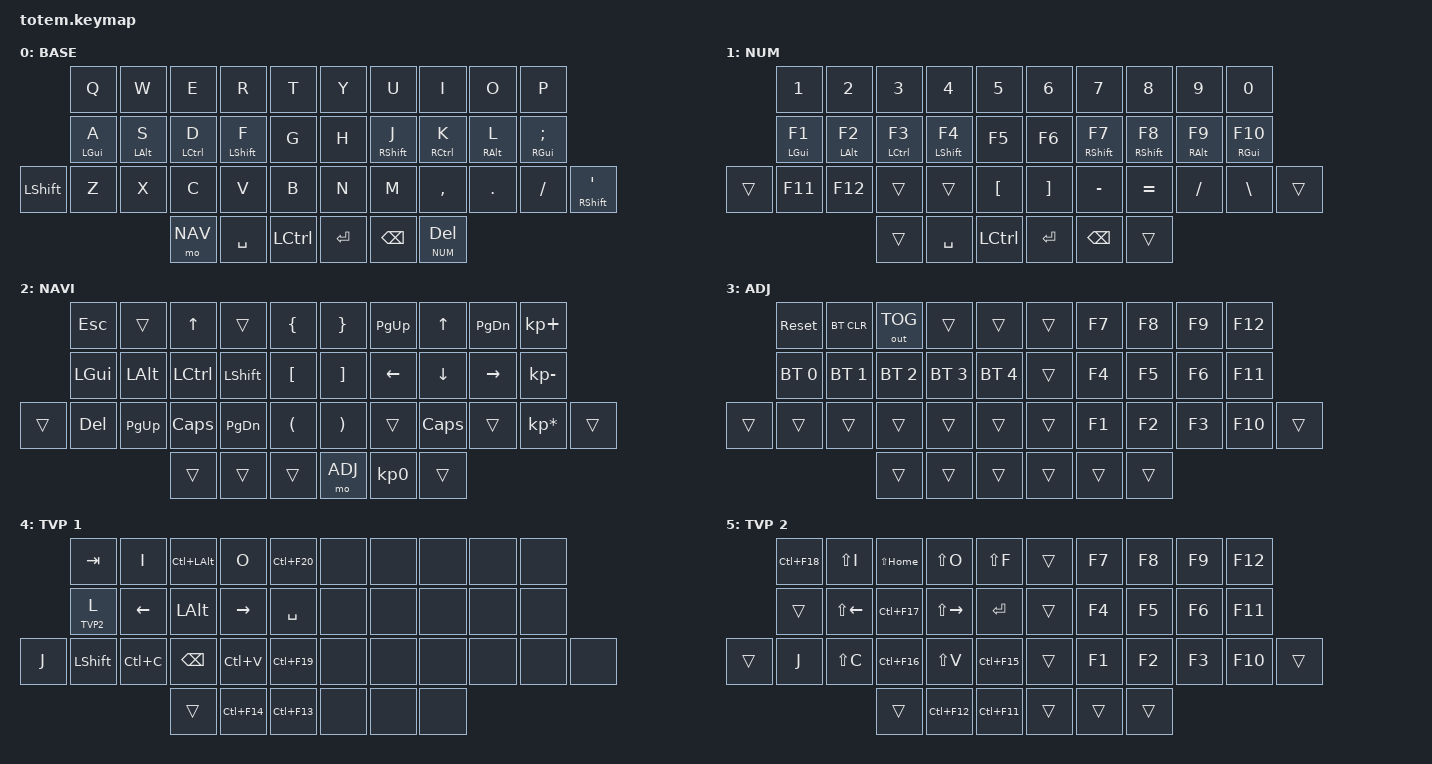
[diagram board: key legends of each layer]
//
//                                                        ▀▀▀▀▀     ▀▀▀▀▀          ▀▀█▀▀
//                                                        ▄▀▀▀▄  ▄  ▄▀▀▀▄  ▄  ▄▀▀▀▄  █  ▄▀▀▀▄
//                                                        █   █  █  █   █  █  █   █  █  █   █
//                                                         ▀▀▀   █   ▀▀▀   █   ▀▀▀   ▀   ▀▀▀
//                                                               █      ▄▄▄█▄▄▄    █   █  
//                                                               ▀      █  █  █     █▄█
//                                                             ▀▀▀▀▀    █  █  █      ▀
//                                                                      ▀  ▀  ▀
//
// ▄▄▄▄▄▄▄▄▄▄▄▄▄▄▄▄▄▄▄▄▄▄▄▄▄▄▄▄▄▄▄▄▄▄▄▄▄▄▄▄▄▄▄▄▄▄▄▄▄▄▄▄▄▄▄▄▄▄▄▄▄▄▄▄▄▄▄▄▄▄▄▄▄▄▄▄▄▄▄▄▄▄▄▄▄▄▄▄▄▄▄▄▄▄▄▄▄▄▄▄▄▄▄▄▄▄▄▄▄▄▄▄▄▄▄▄▄▄▄▄▄▄▄▄▄▄▄▄▄▄▄▄▄▄▄▄▄▄▄▄▄▄▄▄▄▄▄▄▄


#include <behaviors.dtsi>
#include <dt-bindings/zmk/keys.h>
#include <dt-bindings/zmk/bt.h>
#include <dt-bindings/zmk/outputs.h>

#define BASE 0
#define NUM  1
#define NAV  2
#define ADJ  3
#define TVP1 4
#define TVP2 5

&mt {
  quick-tap-ms = <100>;
  require-prior-idle-ms = <100>;
  flavor = "tap-preferred";
  tapping-term-ms = <170>;
};

/ {
     combos {
            compatible = "zmk,combos";
            combo_esc {
                timeout-ms = <50>;
                key-positions = <0 1>;
                bindings = <&kp ESC>;
            };
            combo_tvp {
                timeout-ms = <100>;
                key-positions = <11 12 13>;
                bindings = <&tog TVP1>;
            };
            combo_tab {
                key-positions = <10 11>;
                bindings = <&kp TAB>;
            };
            combo_adj {
                key-positions = <32 37>;
                bindings = <&mo ADJ>;
            };
    };

    macros {
        gif: gif {
            label = "giphy";
            compatible = "zmk,behavior-macro";
            #binding-cells = <0>;
            bindings
                = <&macro_press &kp LSHFT>
                , <&macro_tap &kp N2>
                , <&macro_release &kp LSHFT>
                , <&macro_tap &kp G &kp I &kp F>
                ;
        };
    };

        keymap {
                compatible = "zmk,keymap";
// ▄▄▄▄▄▄▄▄▄▄▄▄▄▄▄▄▄▄▄▄▄▄▄▄▄▄▄▄▄▄▄▄▄▄▄▄▄▄▄▄▄▄▄▄▄▄▄▄▄▄▄▄▄▄▄▄▄▄▄▄▄▄▄▄▄▄▄▄▄▄▄▄▄▄▄▄▄▄▄▄▄▄▄▄▄▄▄▄▄▄▄▄▄▄▄▄▄▄▄▄▄▄▄▄▄▄▄▄▄▄▄▄▄▄▄▄▄▄▄▄▄▄▄▄▄▄▄▄▄▄▄▄▄▄▄▄▄▄▄▄▄▄▄▄▄▄▄▄▄

                base_layer {
// ┏━━━━━━━━━━━━━━━━━━━━━━━━━━━━━━━━━━━━━━━┓
label= "BASE"                              ;
// ┗━━━━━━━━━━━━━━━━━━━━━━━━━━━━━━━━━━━━━━━┛
//             ┏━━━━━━━━━━━┳━━━━━━━━━━━┳━━━━━━━━━━━┳━━━━━━━━━━━┳━━━━━━━━━━━┓   ┏━━━━━━━━━━━┳━━━━━━━━━━━┳━━━━━━━━━━━┳━━━━━━━━━━━┳━━━━━━━━━━━┓
//             ┃     Q     ┃     W     ┃     E     ┃     R     ┃     T     ┃   ┃     Y     ┃     U     ┃     I     ┃     O     ┃     P     ┃
//             ┣━━━━━━━━━━━╋━━━━━━━━━━━╋━━━━━━━━━━━╋━━━━━━━━━━━╋━━━━━━━━━━━┫   ┣━━━━━━━━━━━╋━━━━━━━━━━━╋━━━━━━━━━━━╋━━━━━━━━━━━╋━━━━━━━━━━━┫
//             ┃     A     ┃     S     ┃     D     ┃     F     ┃     G     ┃   ┃     H     ┃     J     ┃     K     ┃     L     ┃     ;     ┃
// ┏━━━━━━━━━━━╋━━━━━━━━━━━╋━━━━━━━━━━━╋━━━━━━━━━━━╋━━━━━━━━━━━╋━━━━━━━━━━━┫   ┣━━━━━━━━━━━╋━━━━━━━━━━━╋━━━━━━━━━━━╋━━━━━━━━━━━╋━━━━━━━━━━━╋━━━━━━━━━━━┓
// ┃   SHIFT   ┃     Z     ┃     X     ┃     C     ┃     V     ┃     B     ┃   ┃     K     ┃     M     ┃     ,     ┃     .     ┃     /     ┃   SHIFT   ┃
// ┗━━━━━━━━━━━┻━━━━━━━━━━━┻━━━━━━━━━━━╋━━━━━━━━━━━╋━━━━━━━━━━━╋━━━━━━━━━━━┫   ┣━━━━━━━━━━━╋━━━━━━━━━━━╋━━━━━━━━━━━╋━━━━━━━━━━━┻━━━━━━━━━━━┻━━━━━━━━━━━┛
//                                     ┃           ┃    SPC    ┃   CTRL    ┃   ┃   ENTER   ┃   BSPC    ┃   DEL     ┃
//                                     ┗━━━━━━━━━━━┻━━━━━━━━━━━┻━━━━━━━━━━━┛   ┗━━━━━━━━━━━┻━━━━━━━━━━━┻━━━━━━━━━━━┛
 bindings = <
// ╷           ╷           ╷           ╷           ╷           ╷           ╷   ╷           ╷           ╷           ╷           ╷           ╷           ╷

                &kp Q       &kp W       &kp E       &kp R       &kp T           &kp Y       &kp U       &kp I       &kp O       &kp P
                &mt LGUI  A &mt LALT S  &mt LCTRL D &mt LSHFT F &kp G           &kp H       &mt RSHFT J &mt RCTRL K &mt RALT L  &mt RGUI SEMI
    &kp LSHFT   &kp Z       &kp X       &kp C       &kp V       &kp B           &kp N       &kp M       &kp COMMA   &kp DOT     &kp FSLH    &mt RSHFT APOS
                                        &mo NAV     &kp SPACE   &kp LCTRL       &kp RET     &kp BSPC    &lt NUM DEL
                        >;
                };

// ▄▄▄▄▄▄▄▄▄▄▄▄▄▄▄▄▄▄▄▄▄▄▄▄▄▄▄▄▄▄▄▄▄▄▄▄▄▄▄▄▄▄▄▄▄▄▄▄▄▄▄▄▄▄▄▄▄▄▄▄▄▄▄▄▄▄▄▄▄▄▄▄▄▄▄▄▄▄▄▄▄▄▄▄▄▄▄▄▄▄▄▄▄▄▄▄▄▄▄▄▄▄▄▄▄▄▄▄▄▄▄▄▄▄▄▄▄▄▄▄▄▄▄▄▄▄▄▄▄▄▄▄▄▄▄▄▄▄▄▄▄▄▄▄▄▄▄▄▄

                num_layer {
// ┏━━━━━━━━━━━━━━━━━━━━━━━━━━━━━━━━━━━━━━━┓
label= "NUM"                               ;
// ┗━━━━━━━━━━━━━━━━━━━━━━━━━━━━━━━━━━━━━━━┛
//             ┏━━━━━━━━━━━┳━━━━━━━━━━━┳━━━━━━━━━━━┳━━━━━━━━━━━┳━━━━━━━━━━━┓   ┏━━━━━━━━━━━┳━━━━━━━━━━━┳━━━━━━━━━━━┳━━━━━━━━━━━┳━━━━━━━━━━━┓
//             ┃     1     ┃     2     ┃     3     ┃     4     ┃     5     ┃   ┃     6     ┃     7     ┃     8     ┃     9     ┃     0     ┃
//             ┣━━━━━━━━━━━╋━━━━━━━━━━━╋━━━━━━━━━━━╋━━━━━━━━━━━╋━━━━━━━━━━━┫   ┣━━━━━━━━━━━╋━━━━━━━━━━━╋━━━━━━━━━━━╋━━━━━━━━━━━╋━━━━━━━━━━━┫
//             ┃     F1    ┃     F2    ┃     F3    ┃     F4    ┃     F5    ┃   ┃     F6    ┃     F7    ┃     F8    ┃     F9    ┃    F10    ┃
// ┏━━━━━━━━━━━╋━━━━━━━━━━━╋━━━━━━━━━━━╋━━━━━━━━━━━╋━━━━━━━━━━━╋━━━━━━━━━━━┫   ┣━━━━━━━━━━━╋━━━━━━━━━━━╋━━━━━━━━━━━╋━━━━━━━━━━━╋━━━━━━━━━━━╋━━━━━━━━━━━┓
// ┃  SHIFT    ┃    F11    ┃    F12    ┃           ┃           ┃     [     ┃   ┃     ]     ┃     -     ┃     =     ┃     /     ┃     \     ┃   SHIFT   ┃
// ┗━━━━━━━━━━━┻━━━━━━━━━━━┻━━━━━━━━━━━╋━━━━━━━━━━━╋━━━━━━━━━━━╋━━━━━━━━━━━┫   ┣━━━━━━━━━━━╋━━━━━━━━━━━╋━━━━━━━━━━━╋━━━━━━━━━━━┻━━━━━━━━━━━┻━━━━━━━━━━━┛
//                                     ┃           ┃    SPC    ┃    CTRL   ┃   ┃   ENTER   ┃   BSPC    ┃           ┃
//                                     ┗━━━━━━━━━━━┻━━━━━━━━━━━┻━━━━━━━━━━━┛   ┗━━━━━━━━━━━┻━━━━━━━━━━━┻━━━━━━━━━━━┛
 bindings = <
// ╷           ╷           ╷           ╷           ╷           ╷           ╷   ╷           ╷           ╷           ╷           ╷           ╷           ╷

                &kp N1      &kp N2      &kp N3      &kp N4      &kp N5          &kp N6      &kp N7       &kp N8        &kp N9      &kp N0
                &mt LGUI F1 &mt LALT F2 &mt LCTRL F3 &mt LSHFT F4 &kp F5        &kp F6      &mt RSHFT F7 &mt RSHFT F8  &mt RALT F9 &mt RGUI F10
    &trans      &kp F11     &kp F12     &trans      &trans      &kp LBKT        &kp RBKT    &kp MINUS    &kp EQUAL     &kp FSLH    &kp BSLH   &trans
                                        &trans      &kp SPACE   &kp LCTRL       &kp RET     &kp BSPC     &trans
                        >;
                };

// ▄▄▄▄▄▄▄▄▄▄▄▄▄▄▄▄▄▄▄▄▄▄▄▄▄▄▄▄▄▄▄▄▄▄▄▄▄▄▄▄▄▄▄▄▄▄▄▄▄▄▄▄▄▄▄▄▄▄▄▄▄▄▄▄▄▄▄▄▄▄▄▄▄▄▄▄▄▄▄▄▄▄▄▄▄▄▄▄▄▄▄▄▄▄▄▄▄▄▄▄▄▄▄▄▄▄▄▄▄▄▄▄▄▄▄▄▄▄▄▄▄▄▄▄▄▄▄▄▄▄▄▄▄▄▄▄▄▄▄▄▄▄▄▄▄▄▄▄▄

                nav_layer {
// ┏━━━━━━━━━━━━━━━━━━━━━━━━━━━━━━━━━━━━━━━┓
label= "NAVI"                              ;
// ┗━━━━━━━━━━━━━━━━━━━━━━━━━━━━━━━━━━━━━━━┛
//             ┏━━━━━━━━━━━┳━━━━━━━━━━━┳━━━━━━━━━━━┳━━━━━━━━━━━┳━━━━━━━━━━━┓   ┏━━━━━━━━━━━┳━━━━━━━━━━━┳━━━━━━━━━━━┳━━━━━━━━━━━┳━━━━━━━━━━━┓
//             ┃    ESC    ┃           ┃     UP    ┃           ┃     {     ┃   ┃     }     ┃    P UP   ┃     UP    ┃  P DOWN   ┃     +     ┃
//             ┣━━━━━━━━━━━╋━━━━━━━━━━━╋━━━━━━━━━━━╋━━━━━━━━━━━╋━━━━━━━━━━━┫   ┣━━━━━━━━━━━╋━━━━━━━━━━━╋━━━━━━━━━━━╋━━━━━━━━━━━╋━━━━━━━━━━━┫
//             ┃    GUI    ┃   LALT    ┃   LCTRL   ┃   LSHIFT  ┃     [     ┃   ┃     ]     ┃    LEFT   ┃    DOWN   ┃   RIGHT   ┃     -     ┃
// ┏━━━━━━━━━━━╋━━━━━━━━━━━╋━━━━━━━━━━━╋━━━━━━━━━━━╋━━━━━━━━━━━╋━━━━━━━━━━━┫   ┣━━━━━━━━━━━╋━━━━━━━━━━━╋━━━━━━━━━━━╋━━━━━━━━━━━╋━━━━━━━━━━━╋━━━━━━━━━━━┓
// ┃           ┃           ┃   P UP    ┃  C LOCK   ┃  P DOWN   ┃     (     ┃   ┃     )     ┃           ┃   C LOCK  ┃           ┃     *     ┃           ┃
// ┗━━━━━━━━━━━┻━━━━━━━━━━━┻━━━━━━━━━━━╋━━━━━━━━━━━╋━━━━━━━━━━━╋━━━━━━━━━━━┫   ┣━━━━━━━━━━━╋━━━━━━━━━━━╋━━━━━━━━━━━╋━━━━━━━━━━━┻━━━━━━━━━━━┻━━━━━━━━━━━┛
//                                     ┃           ┃    TAB    ┃    CTRL   ┃   ┃    DEL    ┃     0     ┃           ┃
//                                     ┗━━━━━━━━━━━┻━━━━━━━━━━━┻━━━━━━━━━━━┛   ┗━━━━━━━━━━━┻━━━━━━━━━━━┻━━━━━━━━━━━┛
 bindings = <
// ╷           ╷           ╷           ╷           ╷           ╷           ╷   ╷           ╷           ╷           ╷           ╷           ╷           ╷

                &kp ESC     &trans      &kp UP      &trans      &kp LBRC        &kp RBRC    &kp PG_UP   &kp UP      &kp PG_DN   &kp KP_PLUS
                &kp LGUI    &kp LALT    &kp LCTRL   &kp LSHIFT  &kp LBKT        &kp RBKT    &kp LEFT    &kp DOWN    &kp RIGHT   &kp KP_MINUS
    &trans      &kp DEL     &kp PG_UP   &kp CAPS    &kp PG_DN   &kp LPAR        &kp RPAR    &trans      &kp CAPS    &trans      &kp KP_MULTIPLY &trans
                                        &trans      &trans      &trans          &mo ADJ     &kp KP_N0   &trans
                        >;
                };

// ▄▄▄▄▄▄▄▄▄▄▄▄▄▄▄▄▄▄▄▄▄▄▄▄▄▄▄▄▄▄▄▄▄▄▄▄▄▄▄▄▄▄▄▄▄▄▄▄▄▄▄▄▄▄▄▄▄▄▄▄▄▄▄▄▄▄▄▄▄▄▄▄▄▄▄▄▄▄▄▄▄▄▄▄▄▄▄▄▄▄▄▄▄▄▄▄▄▄▄▄▄▄▄▄▄▄▄▄▄▄▄▄▄▄▄▄▄▄▄▄▄▄▄▄▄▄▄▄▄▄▄▄▄▄▄▄▄▄▄▄▄▄▄▄▄▄▄▄▄

                adjust_layer {
// ┏━━━━━━━━━━━━━━━━━━━━━━━━━━━━━━━━━━━━━━━┓
label= "ADJ"                               ;
// ┗━━━━━━━━━━━━━━━━━━━━━━━━━━━━━━━━━━━━━━━┛
//             ┏━━━━━━━━━━━┳━━━━━━━━━━━┳━━━━━━━━━━━┳━━━━━━━━━━━┳━━━━━━━━━━━┓   ┏━━━━━━━━━━━┳━━━━━━━━━━━┳━━━━━━━━━━━┳━━━━━━━━━━━┳━━━━━━━━━━━┓
//             ┃   RESET   ┃ BT CLEAR  ┃  OUT TOG  ┃           ┃           ┃   ┃           ┃    F7     ┃    F8     ┃    F9     ┃    F12    ┃
//             ┣━━━━━━━━━━━╋━━━━━━━━━━━╋━━━━━━━━━━━╋━━━━━━━━━━━╋━━━━━━━━━━━┫   ┣━━━━━━━━━━━╋━━━━━━━━━━━╋━━━━━━━━━━━╋━━━━━━━━━━━╋━━━━━━━━━━━┫
//             ┃ BT SEL 0  ┃ BT SEL 1  ┃ BT SEL 2  ┃ BT SEL 3  ┃  BT SEL 4 ┃   ┃           ┃    F4     ┃    F5     ┃    F6     ┃    F11    ┃
// ┏━━━━━━━━━━━╋━━━━━━━━━━━╋━━━━━━━━━━━╋━━━━━━━━━━━╋━━━━━━━━━━━╋━━━━━━━━━━━┫   ┣━━━━━━━━━━━╋━━━━━━━━━━━╋━━━━━━━━━━━╋━━━━━━━━━━━╋━━━━━━━━━━━╋━━━━━━━━━━━┓
// ┃           ┃           ┃           ┃           ┃           ┃           ┃   ┃           ┃    F1     ┃    F2     ┃    F3     ┃    F10    ┃           ┃
// ┗━━━━━━━━━━━┻━━━━━━━━━━━┻━━━━━━━━━━━╋━━━━━━━━━━━╋━━━━━━━━━━━╋━━━━━━━━━━━┫   ┣━━━━━━━━━━━╋━━━━━━━━━━━╋━━━━━━━━━━━╋━━━━━━━━━━━┻━━━━━━━━━━━┻━━━━━━━━━━━┛
//                                     ┃           ┃           ┃           ┃   ┃           ┃           ┃           ┃
//                                     ┗━━━━━━━━━━━┻━━━━━━━━━━━┻━━━━━━━━━━━┛   ┗━━━━━━━━━━━┻━━━━━━━━━━━┻━━━━━━━━━━━┛
 bindings = <
// ╷           ╷             ╷             ╷             ╷             ╷             ╷   ╷             ╷             ╷             ╷             ╷             ╷             ╷

                &sys_reset    &bt BT_CLR     &out OUT_TOG   &trans       &trans            &trans      &kp F7      &kp F8      &kp F9      &kp F12
                &bt BT_SEL 0  &bt BT_SEL 1   &bt BT_SEL 2   &bt BT_SEL 3 &bt BT_SEL 4      &trans      &kp F4      &kp F5      &kp F6      &kp F11
    &trans      &trans        &trans         &trans         &trans       &trans            &trans      &kp F1      &kp F2      &kp F3      &kp F10     &trans
                                        &trans      &trans      &trans          &trans      &trans      &trans
                        >;
                };

// ▄▄▄▄▄▄▄▄▄▄▄▄▄▄▄▄▄▄▄▄▄▄▄▄▄▄▄▄▄▄▄▄▄▄▄▄▄▄▄▄▄▄▄▄▄▄▄▄▄▄▄▄▄▄▄▄▄▄▄▄▄▄▄▄▄▄▄▄▄▄▄▄▄▄▄▄▄▄▄▄▄▄▄▄▄▄▄▄▄▄▄▄▄▄▄▄▄▄▄▄▄▄▄▄▄▄▄▄▄▄▄▄▄▄▄▄▄▄▄▄▄▄▄▄▄▄▄▄▄▄▄▄▄▄▄▄▄▄▄▄▄▄▄▄▄▄▄▄▄

                tvp1_layer {
// ┏━━━━━━━━━━━━━━━━━━━━━━━━━━━━━━━━━━━━━━━┓
label= "TVP 1"                             ;
// ┗━━━━━━━━━━━━━━━━━━━━━━━━━━━━━━━━━━━━━━━┛
//             ┏━━━━━━━━━━━┳━━━━━━━━━━━┳━━━━━━━━━━━┳━━━━━━━━━━━┳━━━━━━━━━━━┓   ┏━━━━━━━━━━━┳━━━━━━━━━━━┳━━━━━━━━━━━┳━━━━━━━━━━━┳━━━━━━━━━━━┓
//             ┃ NEXT FILE ┃ MARK IN   ┃ ROTATE    ┃ MARK OUT  ┃ SHOW SNAP ┃   ┃           ┃           ┃           ┃           ┃           ┃
//             ┣━━━━━━━━━━━╋━━━━━━━━━━━╋━━━━━━━━━━━╋━━━━━━━━━━━╋━━━━━━━━━━━┫   ┣━━━━━━━━━━━╋━━━━━━━━━━━╋━━━━━━━━━━━╋━━━━━━━━━━━╋━━━━━━━━━━━┫
//             ┃ TVP II    ┃ LEFT      ┃ PAN       ┃ RIGHT     ┃ PLAY/FLIP ┃   ┃           ┃           ┃           ┃           ┃           ┃
// ┏━━━━━━━━━━━╋━━━━━━━━━━━╋━━━━━━━━━━━╋━━━━━━━━━━━╋━━━━━━━━━━━╋━━━━━━━━━━━┫   ┣━━━━━━━━━━━╋━━━━━━━━━━━╋━━━━━━━━━━━╋━━━━━━━━━━━╋━━━━━━━━━━━╋━━━━━━━━━━━┓
// ┃ FULLSCR   ┃ SHIFT     ┃ COPY      ┃ DELETE    ┃ PASTE     ┃ IMG MARK  ┃   ┃           ┃           ┃           ┃           ┃           ┃           ┃
// ┗━━━━━━━━━━━┻━━━━━━━━━━━┻━━━━━━━━━━━╋━━━━━━━━━━━╋━━━━━━━━━━━╋━━━━━━━━━━━┫   ┣━━━━━━━━━━━╋━━━━━━━━━━━╋━━━━━━━━━━━╋━━━━━━━━━━━┻━━━━━━━━━━━┻━━━━━━━━━━━┛
//                                     ┃           ┃ UNDO/SAVE ┃  SEL/MOV  ┃   ┃           ┃           ┃           ┃
//                                     ┗━━━━━━━━━━━┻━━━━━━━━━━━┻━━━━━━━━━━━┛   ┗━━━━━━━━━━━┻━━━━━━━━━━━┻━━━━━━━━━━━┛
 bindings = <
// ╷           ╷           ╷           ╷           ╷           ╷           ╷   ╷           ╷           ╷           ╷           ╷           ╷           ╷

                &kp TAB     &kp I       &kp LC(LALT) &kp O      &kp LC(F20)     &none       &none       &none       &none       &none
                &lt TVP2 L  &kp LEFT    &kp LALT    &kp RIGHT   &kp SPACE       &none       &none       &none       &none       &none
    &kp J       &kp LSHFT   &kp LC(C)   &kp BSPC    &kp LC(V)   &kp LC(F19)     &none       &none       &none       &none       &none       &none        
                                        &trans      &kp LC(F14) &kp LC(F13)     &none       &none       &none    
                        >;
                };

// ▄▄▄▄▄▄▄▄▄▄▄▄▄▄▄▄▄▄▄▄▄▄▄▄▄▄▄▄▄▄▄▄▄▄▄▄▄▄▄▄▄▄▄▄▄▄▄▄▄▄▄▄▄▄▄▄▄▄▄▄▄▄▄▄▄▄▄▄▄▄▄▄▄▄▄▄▄▄▄▄▄▄▄▄▄▄▄▄▄▄▄▄▄▄▄▄▄▄▄▄▄▄▄▄▄▄▄▄▄▄▄▄▄▄▄▄▄▄▄▄▄▄▄▄▄▄▄▄▄▄▄▄▄▄▄▄▄▄▄▄▄▄▄▄▄▄▄▄▄


                tvp2_layer {
// ┏━━━━━━━━━━━━━━━━━━━━━━━━━━━━━━━━━━━━━━━┓
label= "TVP 2"                             ;
// ┗━━━━━━━━━━━━━━━━━━━━━━━━━━━━━━━━━━━━━━━┛
//             ┏━━━━━━━━━━━┳━━━━━━━━━━━┳━━━━━━━━━━━┳━━━━━━━━━━━┳━━━━━━━━━━━┓   ┏━━━━━━━━━━━┳━━━━━━━━━━━┳━━━━━━━━━━━┳━━━━━━━━━━━┳━━━━━━━━━━━┓
//             ┃ SOLO      ┃ TOGGLE IN ┃ RESET ROT ┃ TOGGLE OUT┃ TAKE SNAP ┃   ┃           ┃           ┃           ┃           ┃           ┃
//             ┣━━━━━━━━━━━╋━━━━━━━━━━━╋━━━━━━━━━━━╋━━━━━━━━━━━╋━━━━━━━━━━━┫   ┣━━━━━━━━━━━╋━━━━━━━━━━━╋━━━━━━━━━━━╋━━━━━━━━━━━╋━━━━━━━━━━━┫
//             ┃ ---       ┃ LAST KEY  ┃ NEW KEY   ┃ NEXT KEY  ┃ ENTER     ┃   ┃           ┃           ┃           ┃           ┃           ┃
// ┏━━━━━━━━━━━╋━━━━━━━━━━━╋━━━━━━━━━━━╋━━━━━━━━━━━╋━━━━━━━━━━━╋━━━━━━━━━━━┫   ┣━━━━━━━━━━━╋━━━━━━━━━━━╋━━━━━━━━━━━╋━━━━━━━━━━━╋━━━━━━━━━━━╋━━━━━━━━━━━┓
// ┃           ┃ FULLSCR   ┃ CPY2BRUSH ┃ DEL HEAD  ┃ PSTinPLACE┃ BOOK MARK ┃   ┃           ┃           ┃           ┃           ┃           ┃           ┃
// ┗━━━━━━━━━━━┻━━━━━━━━━━━┻━━━━━━━━━━━╋━━━━━━━━━━━╋━━━━━━━━━━━╋━━━━━━━━━━━┫   ┣━━━━━━━━━━━╋━━━━━━━━━━━╋━━━━━━━━━━━╋━━━━━━━━━━━┻━━━━━━━━━━━┻━━━━━━━━━━━┛
//                                     ┃           ┃ REDO/SAV1 ┃TRANS/WARP ┃   ┃           ┃           ┃           ┃
//                                     ┗━━━━━━━━━━━┻━━━━━━━━━━━┻━━━━━━━━━━━┛   ┗━━━━━━━━━━━┻━━━━━━━━━━━┻━━━━━━━━━━━┛
 bindings = <
// ╷           ╷           ╷           ╷           ╷           ╷           ╷   ╷           ╷           ╷           ╷           ╷           ╷           ╷

                &kp LC(F18) &kp LS(I)  &kp LS(HOME) &kp LS(O)   &kp LS(F)       &trans      &kp F7      &kp F8      &kp F9      &kp F12
                &trans      &kp LS(LEFT) &kp LC(F17) &kp LS(RIGHT) &kp RET      &trans      &kp F4      &kp F5      &kp F6      &kp F11  
    &trans      &kp J       &kp LS(C)   &kp LC(F16) &kp LS(V)   &kp LC(F15)     &trans      &kp F1      &kp F2      &kp F3      &kp F10     &trans         
                                        &trans      &kp LC(F12) &kp LC(F11)     &trans      &trans      &trans      
                        >;
                };
        };
};
